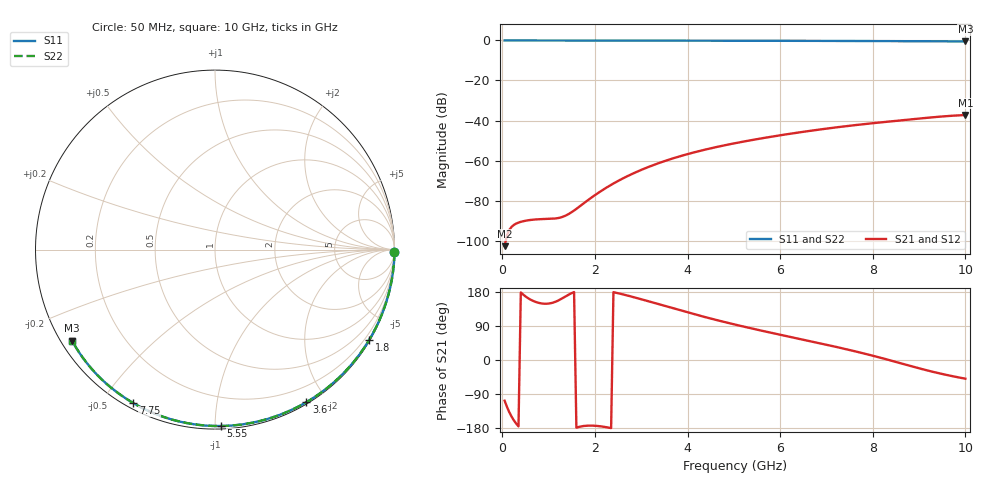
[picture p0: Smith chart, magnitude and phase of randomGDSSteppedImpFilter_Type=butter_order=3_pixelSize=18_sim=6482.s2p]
! freq	dB(S11)	phase(S11)	dB(S12)	phase(S12)
!  dB(S21)	phase(S21)	dB(S22)	phase(S22)
!S-par simulation data
#  GHz  S  DB  R 50
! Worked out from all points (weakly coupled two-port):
!   200 points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, 50 MHz to 10 GHz, reference 50 ohm
!   highest |S21| = -37.25 dB at 10 GHz (marker M1); lowest = -102.7 dB at 50 MHz (marker M2)
!   lowest |S11| = -0.5 dB at 10 GHz (marker M3), VSWR 35.10, Z = 1.55 - j14.6 ohm
!   |S11| at or under -10 dB: nowhere
!   |S22| runs from -0.5 to 0.0 dB; largest |S21 - S12| = 0
!   S11 on the Smith chart (normalised r, x): 50 MHz: open; 1.8 GHz: 0.03, -3.69; 3.6 GHz: 0.02, -1.76; 5.55 GHz: 0.02, -1.04; 7.75 GHz: 0.02, -0.60; 10 GHz: 0.03, -0.29
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0.05  -0.00 -0.9  -102.75 -107.4  -102.75 -107.4  -0.00 -0.9
0.45  -0.01 -7.7  -90.29 172.8  -90.29 172.8  -0.01 -7.7
0.85  -0.02 -14.5  -89.24 149.2  -89.24 149.2  -0.02 -14.5
1.3  -0.03 -22.0  -88.12 163.0  -88.12 163.0  -0.03 -22.0
1.75  -0.04 -29.5  -81.49 -174.3  -81.49 -174.3  -0.04 -29.5
1.8  -0.04 -30.3  -80.61 -173.6  -80.61 -173.6  -0.04 -30.3
1.85  -0.04 -31.1  -79.75 -173.2  -79.75 -173.2  -0.04 -31.1
2.2  -0.05 -36.9  -74.21 -176.4  -74.21 -176.4  -0.05 -36.9
2.6  -0.06 -43.3  -68.96 173.3  -68.96 173.3  -0.06 -43.3
3  -0.07 -49.7  -64.66 160.3  -64.66 160.3  -0.07 -49.7
3.4  -0.07 -56.0  -61.08 146.4  -61.08 146.4  -0.07 -56.0
3.6  -0.08 -59.1  -59.52 139.4  -59.52 139.4  -0.08 -59.1
3.9  -0.09 -63.7  -57.42 129.1  -57.42 129.1  -0.09 -63.7
4.25  -0.10 -69.0  -55.26 117.4  -55.26 117.4  -0.10 -69.0
5.05  -0.12 -80.8  -51.20 92.8  -51.20 92.8  -0.12 -80.8
5.55  -0.14 -88.0  -49.09 78.7  -49.09 78.7  -0.14 -88.0
6.1  -0.17 -95.7  -47.01 64.0  -47.01 64.0  -0.17 -95.7
6.7  -0.20 -104.0  -44.97 48.3  -44.97 48.3  -0.20 -104.0
7.75  -0.28 -118.0  -41.95 19.0  -41.95 19.0  -0.28 -118.0
8.35  -0.32 -125.9  -40.51 -0.0  -40.51 -0.0  -0.32 -125.9
9.45  -0.43 -140.2  -38.05 -35.6  -38.05 -35.6  -0.43 -140.2
10  -0.50 -147.5  -37.25 -49.4  -37.25 -49.4  -0.50 -147.4
